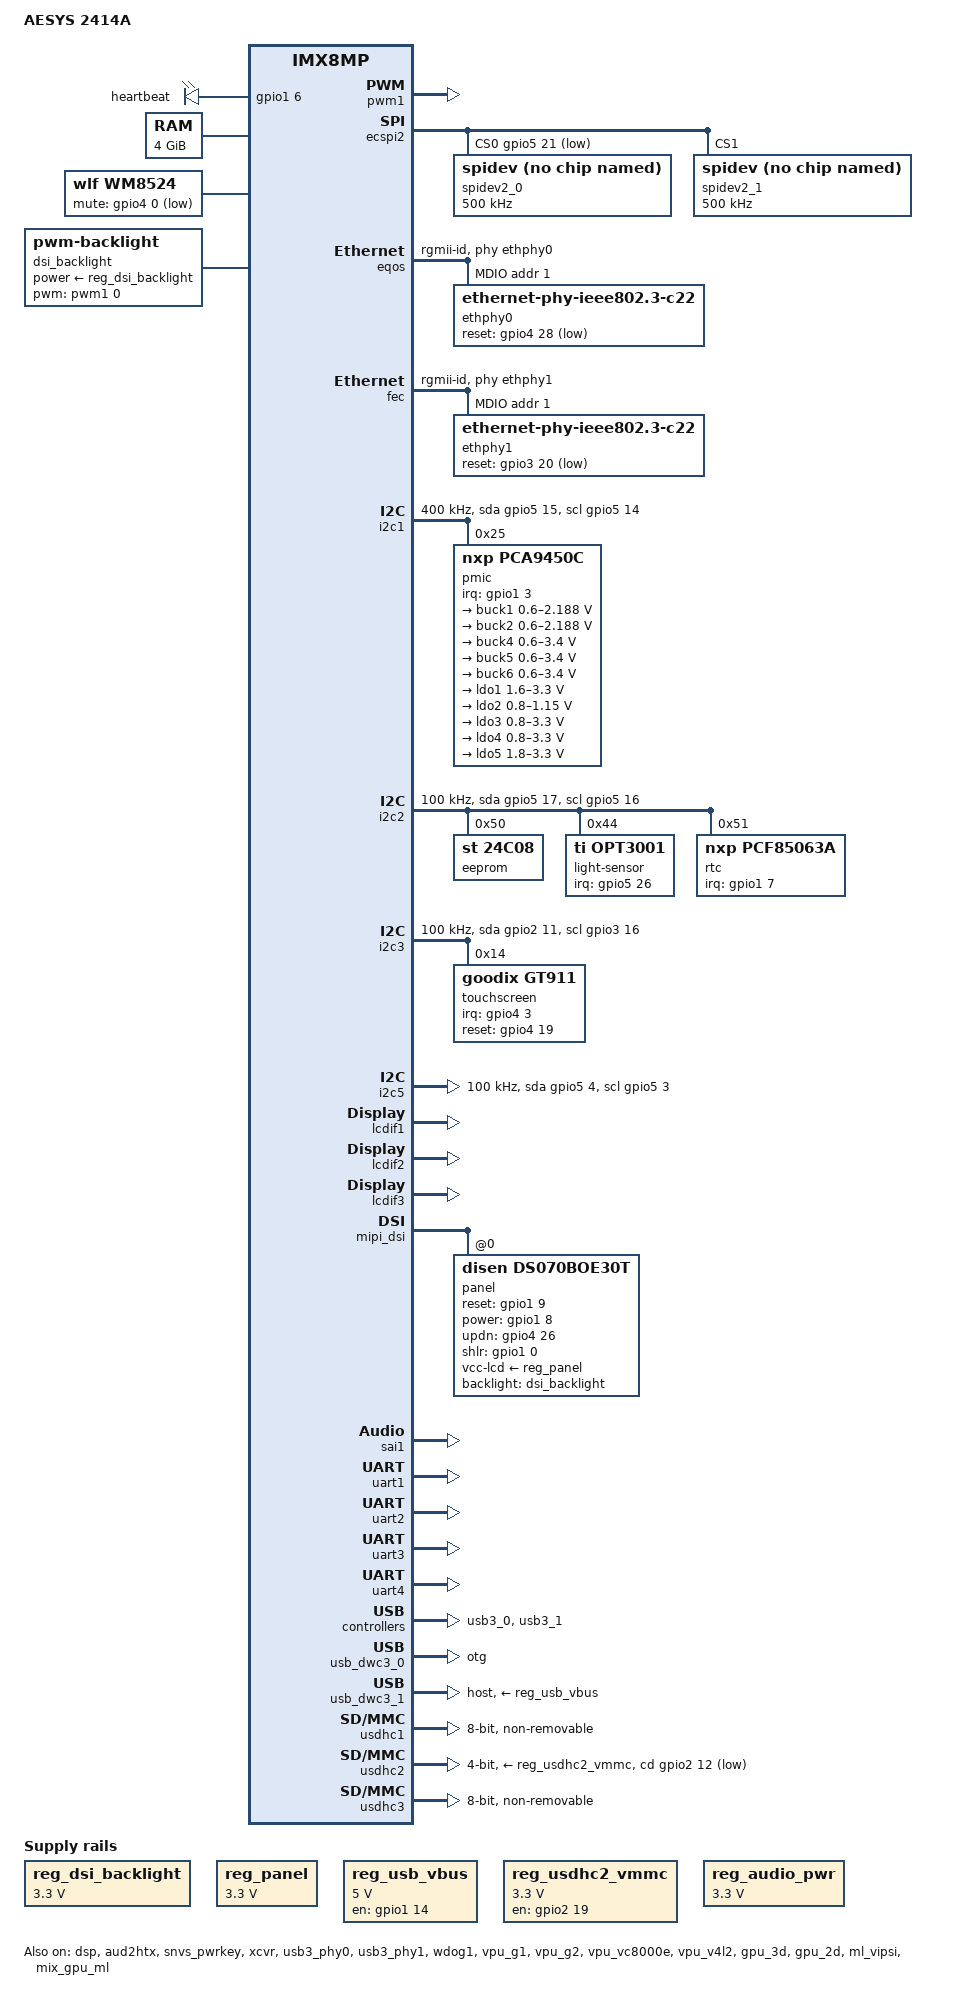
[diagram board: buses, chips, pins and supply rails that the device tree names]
// SPDX-License-Identifier: (GPL-2.0+ OR MIT)

/dts-v1/;

#include <dt-bindings/phy/phy-imx8-pcie.h>
#include <dt-bindings/usb/pd.h>
#include <dt-bindings/leds/common.h>
#include "imx8mp.dtsi"

/ {
	model = "AESYS 2414A";
	compatible = "fsl,imx8mp-evk", "fsl,imx8mp";

	aliases {
		rtc0 = &rtc_i2c;
		rtc1 = &snvs_rtc;
	};

	chosen {
		stdout-path = &uart2;
	};

	gpio-leds {
		compatible = "gpio-leds";
		pinctrl-names = "default";
		pinctrl-0 = <&pinctrl_gpio_led>;
		status = "okay";

		heartbeat {
			label = "heartbeat";
			linux,default-trigger = "heartbeat";
			gpios = <&gpio1 6 GPIO_ACTIVE_HIGH>;
		};
	};

	memory@40000000 {
		device_type = "memory";
		reg = <0x0 0x40000000 0 0xc0000000>,
			  <0x1 0x00000000 0 0x40000000>;
	};

	reg_dsi_backlight: regulator-panel {
		compatible = "regulator-fixed";
		regulator-name = "panel";
		regulator-min-microvolt = <3300000>;
		regulator-max-microvolt = <3300000>;
		enable-active-high;
	};

	reg_panel: regulator-panel {
		compatible = "regulator-fixed";
		regulator-name = "panel";
		regulator-min-microvolt = <3300000>;
		regulator-max-microvolt = <3300000>;
		enable-active-high;
	};

	reg_usb_vbus: regulator-vbus {
		compatible = "regulator-fixed";
		pinctrl-names = "default";
		pinctrl-0 = <&pinctrl_usb2_vbus>;
		regulator-name = "USB_VBUS";
		regulator-min-microvolt = <5000000>;
		regulator-max-microvolt = <5000000>;
		gpio = <&gpio1 14 GPIO_ACTIVE_HIGH>;
		enable-active-high;
		regulator-always-on;
	};

	reg_usdhc2_vmmc: regulator-usdhc2 {
		compatible = "regulator-fixed";
		pinctrl-names = "default";
		pinctrl-0 = <&pinctrl_reg_usdhc2_vmmc>;
		regulator-name = "VSD_3V3";
		regulator-min-microvolt = <3300000>;
		regulator-max-microvolt = <3300000>;
		gpio = <&gpio2 19 GPIO_ACTIVE_HIGH>;
		enable-active-high;
	};

	reg_audio_pwr: regulator-audio-pwr {
		compatible = "regulator-fixed";
		regulator-name = "audio-pwr";
		regulator-min-microvolt = <3300000>;
		regulator-max-microvolt = <3300000>;
		enable-active-high;
		regulator-always-on;
	};

	wm8524: audio-codec {
		#sound-dai-cells = <0>;
		compatible = "wlf,wm8524";
		pinctrl-names = "default";
		pinctrl-0 = <&pinctrl_sound_wm8524>;
		wlf,mute-gpios = <&gpio4 0 GPIO_ACTIVE_LOW>;
	};

	sound-wm8524 {
		compatible = "simple-audio-card";
		simple-audio-card,name = "wm8524-audio";
		simple-audio-card,format = "i2s";
		simple-audio-card,frame-master = <&cpudai>;
		simple-audio-card,bitclock-master = <&cpudai>;
		simple-audio-card,widgets =
			"Line", "Left Line Out Jack",
			"Line", "Right Line Out Jack";
		simple-audio-card,routing =
			"Left Line Out Jack", "LINEVOUTL",
			"Right Line Out Jack", "LINEVOUTR";

		cpudai: simple-audio-card,cpu {
			sound-dai = <&sai1>;
		};

		link_codec: simple-audio-card,codec {
			sound-dai = <&wm8524>;
			clocks = <&clk IMX8MP_CLK_SAI1>;
		};
	};

	sound-xcvr {
		compatible = "fsl,imx-audio-card";
		model = "imx-audio-xcvr";
		pri-dai-link {
			link-name = "XCVR PCM";
			cpu {
				sound-dai = <&xcvr>;
			};
		};
	};

	dsi_backlight: dsi_backlight@1 {
		compatible = "pwm-backlight";
		pwms = <&pwm1 0 100000 0>;
		power-supply = <&reg_dsi_backlight>;
		status = "okay";

		brightness-levels = < 0  1  2  3  4  5  6  7  8  9
				     10 11 12 13 14 15 16 17 18 19
				     20 21 22 23 24 25 26 27 28 29
				     30 31 32 33 34 35 36 37 38 39
				     40 41 42 43 44 45 46 47 48 49
				     50 51 52 53 54 55 56 57 58 59
				     60 61 62 63 64 65 66 67 68 69
				     70 71 72 73 74 75 76 77 78 79
				     80 81 82 83 84 85 86 87 88 89
				     90 91 92 93 94 95 96 97 98 99
				    100>;
		default-brightness-level = <80>;
	};
};

&A53_0 {
	cpu-supply = <&buck2>;
};

&A53_1 {
	cpu-supply = <&buck2>;
};

&A53_2 {
	cpu-supply = <&buck2>;
};

&A53_3 {
	cpu-supply = <&buck2>;
};

&dsp {
	status = "okay";
};

&pwm1 {
	pinctrl-names = "default";
	pinctrl-0 = <&pinctrl_pwm1>;
	status = "okay";
};

&aud2htx {
	status = "okay";
};

&ecspi2 {
	#address-cells = <1>;
	#size-cells = <0>;
	fsl,spi-num-chipselects = <1>;
	pinctrl-names = "default";
	pinctrl-0 = <&pinctrl_ecspi2 &pinctrl_ecspi2_cs>;
	cs-gpios = <&gpio5 21 GPIO_ACTIVE_LOW>;
	status = "okay";

	spidev2_0: spi@0 {
		compatible = "linux,spidev";
		reg = <0>;
		spi-max-frequency = <500000>;
	};

	spidev2_1: spi@1 {
		compatible = "linux,spidev";
		reg = <1>;
		spi-max-frequency = <500000>;
	};
};

&eqos {
	pinctrl-names = "default";
	pinctrl-0 = <&pinctrl_eqos>;
	phy-mode = "rgmii-id";
	phy-handle = <&ethphy0>;
	snps,force_thresh_dma_mode;
	status = "okay";

	mdio {
		compatible = "snps,dwmac-mdio";
		#address-cells = <1>;
		#size-cells = <0>;

		ethphy0: ethernet-phy@1 {
			compatible = "ethernet-phy-ieee802.3-c22";
			reg = <1>;
			eee-broken-1000t;
			reset-gpios = <&gpio4 28 GPIO_ACTIVE_LOW>;
			reset-assert-us = <10000>;
			reset-deassert-us = <80000>;
			realtek,clkout-disable;

			leds {
				led@0 {
					reg = <0>;
					function = LED_FUNCTION_MULTICOLOR;
					multicolor-function = LED_MC_FUNCTION_ENCODED_SPEED;
				};
	
				led@1 {
					reg = <1>;
					function = LED_FUNCTION_ACTIVITY;
				};
			};
		};
	};
};

&fec {
	pinctrl-names = "default";
	pinctrl-0 = <&pinctrl_fec>;
	phy-mode = "rgmii-id";
	phy-handle = <&ethphy1>;
	fsl,magic-packet;
	status = "okay";

	mdio {
		#address-cells = <1>;
		#size-cells = <0>;

		ethphy1: ethernet-phy@1 {
			compatible = "ethernet-phy-ieee802.3-c22";
			reg = <1>;
			eee-broken-1000t;
			reset-gpios = <&gpio3 20 GPIO_ACTIVE_LOW>;
			reset-assert-us = <10000>;
			reset-deassert-us = <80000>;
			realtek,aldps-enable;
			realtek,clkout-disable;
		};
	};
};

&i2c1 {
	clock-frequency = <400000>;
	pinctrl-names = "default", "gpio";
	pinctrl-0 = <&pinctrl_i2c1>;
	pinctrl-1 = <&pinctrl_i2c1_gpio>;
	scl-gpios = <&gpio5 14 (GPIO_ACTIVE_HIGH | GPIO_OPEN_DRAIN)>;
	sda-gpios = <&gpio5 15 GPIO_ACTIVE_HIGH>;
	status = "okay";

	pmic@25 {
		compatible = "nxp,pca9450c";
		reg = <0x25>;
		pinctrl-names = "default";
		pinctrl-0 = <&pinctrl_pmic>;
		interrupt-parent = <&gpio1>;
		interrupts = <3 IRQ_TYPE_LEVEL_LOW>;
		nxp,i2c-lt-enable;

		regulators {
			buck1: BUCK1 {
				regulator-name = "BUCK1";
				regulator-min-microvolt = <600000>;
				regulator-max-microvolt = <2187500>;
				regulator-boot-on;
				regulator-always-on;
				regulator-ramp-delay = <3125>;
			};

			buck2: BUCK2 {
				regulator-name = "BUCK2";
				regulator-min-microvolt = <600000>;
				regulator-max-microvolt = <2187500>;
				regulator-boot-on;
				regulator-always-on;
				regulator-ramp-delay = <3125>;
				nxp,dvs-run-voltage = <950000>;
				nxp,dvs-standby-voltage = <850000>;
			};

			buck4: BUCK4{
				regulator-name = "BUCK4";
				regulator-min-microvolt = <600000>;
				regulator-max-microvolt = <3400000>;
				regulator-boot-on;
				regulator-always-on;
			};

			buck5: BUCK5{
				regulator-name = "BUCK5";
				regulator-min-microvolt = <600000>;
				regulator-max-microvolt = <3400000>;
				regulator-boot-on;
				regulator-always-on;
			};

			buck6: BUCK6 {
				regulator-name = "BUCK6";
				regulator-min-microvolt = <600000>;
				regulator-max-microvolt = <3400000>;
				regulator-boot-on;
				regulator-always-on;
			};

			ldo1: LDO1 {
				regulator-name = "LDO1";
				regulator-min-microvolt = <1600000>;
				regulator-max-microvolt = <3300000>;
				regulator-boot-on;
				regulator-always-on;
			};

			ldo2: LDO2 {
				regulator-name = "LDO2";
				regulator-min-microvolt = <800000>;
				regulator-max-microvolt = <1150000>;
				regulator-boot-on;
				regulator-always-on;
			};

			ldo3: LDO3 {
				regulator-name = "LDO3";
				regulator-min-microvolt = <800000>;
				regulator-max-microvolt = <3300000>;
				regulator-boot-on;
				regulator-always-on;
			};

			ldo4: LDO4 {
				regulator-name = "LDO4";
				regulator-min-microvolt = <800000>;
				regulator-max-microvolt = <3300000>;
				regulator-boot-on;
				regulator-always-on;
			};

			ldo5: LDO5 {
				regulator-name = "LDO5";
				regulator-min-microvolt = <1800000>;
				regulator-max-microvolt = <3300000>;
				regulator-boot-on;
				regulator-always-on;
			};
		};
	};
};

&i2c2 {
	clock-frequency = <100000>;
 	pinctrl-names = "default", "gpio";
 	pinctrl-0 = <&pinctrl_i2c2>;
 	pinctrl-1 = <&pinctrl_i2c2_gpio>;
 	scl-gpios = <&gpio5 16 (GPIO_ACTIVE_HIGH | GPIO_OPEN_DRAIN)>;
 	sda-gpios = <&gpio5 17 GPIO_ACTIVE_HIGH>;
	status = "okay";

	eeprom@50 {
		compatible = "st,24c08";
		reg = <0x50>;
		pagesize = <16>;
		num-addresses = <1>;
	};

	light-sensor@44 {
		compatible = "ti,opt3001";
		pinctrl-names = "default";
		pinctrl-0 = <&pinctrl_light_sensor>;
		reg = <0x44>;
		interrupt-parent = <&gpio5>;
		interrupts = <26 IRQ_TYPE_EDGE_FALLING>;
	};

	rtc@51 {
		compatible = "nxp,pcf85063a";
		pinctrl-names = "default";
		pinctrl-0 = <&pinctrl_rtc>;
		reg = <0x51>;
		interrupt-parent = <&gpio1>;
		interrupts = <7 IRQ_TYPE_EDGE_FALLING>;
	};
};

&i2c3 {
	clock-frequency = <100000>;
	pinctrl-names = "default", "gpio";
 	pinctrl-0 = <&pinctrl_i2c3>;
 	pinctrl-1 = <&pinctrl_i2c3_gpio>;
 	scl-gpios = <&gpio3 16 (GPIO_ACTIVE_HIGH | GPIO_OPEN_DRAIN)>;
 	sda-gpios = <&gpio2 11 GPIO_ACTIVE_HIGH>;
	status = "okay";

	touchscreen: touchscreen@14 {
		compatible = "goodix,gt911";
		pinctrl-names = "default";
		pinctrl-0 = <&pinctrl_touchscreen>;
		reg = <0x14>;
		irq-gpios = <&gpio4 3 GPIO_ACTIVE_HIGH>;
		interrupt-parent = <&gpio4>;
		interrupts = <3 GPIO_ACTIVE_HIGH>;
		reset-gpios = <&gpio4 19 GPIO_ACTIVE_HIGH>;
		dont-release-reset;
		dont-drive-irq-for-address-configuration;
	};
};

&i2c5 {
	clock-frequency = <100000>;
	pinctrl-names = "default", "gpio";
 	pinctrl-0 = <&pinctrl_i2c5>;
 	pinctrl-1 = <&pinctrl_i2c5_gpio>;
 	scl-gpios = <&gpio5 3 (GPIO_ACTIVE_HIGH | GPIO_OPEN_DRAIN)>;
 	sda-gpios = <&gpio5 4 GPIO_ACTIVE_HIGH>;
	status = "okay";
};

&lcdif1 {
	status = "okay";
};

&lcdif2 {
	status = "okay";
};

&lcdif3 {
	status = "okay";

	thres-low  = <1 2>;
	thres-high = <3 4>;
};

&mipi_dsi {
	status = "okay";

	panel@0 {
		compatible = "disen,ds070boe30t";
		pinctrl-0 = <&pinctrl_mipi_dsi>;
		pinctrl-names = "default";
		reg = <0>;
		reset-gpios = <&gpio1 9 GPIO_ACTIVE_HIGH>;
		power-gpios = <&gpio1 8 GPIO_ACTIVE_HIGH>;
		updn-gpios = <&gpio4 26 GPIO_ACTIVE_HIGH>;
		shlr-gpios = <&gpio1 0 GPIO_ACTIVE_HIGH>;		
		vcc-lcd-supply = <&reg_panel>;
		backlight = <&dsi_backlight>;
		status = "okay";
	};
};

&sai1 {
	#sound-dai-cells = <0>;
	pinctrl-names = "default";
	pinctrl-0 = <&pinctrl_sai1>;
	assigned-clocks = <&clk IMX8MP_CLK_SAI1>;
	assigned-clock-parents = <&clk IMX8MP_AUDIO_PLL1_OUT>;
	assigned-clock-rates = <12288000>;
	fsl,sai-mclk-direction-output;
	status = "okay";
};

&snvs_pwrkey {
	status = "okay";
};

&xcvr {
	#sound-dai-cells = <0>;
	status = "okay";
};

&sdma2 {
	status = "okay";
};

&uart1 {
	pinctrl-names = "default";
	pinctrl-0 = <&pinctrl_uart1>;
	assigned-clocks = <&clk IMX8MP_CLK_UART1>;
	assigned-clock-parents = <&clk IMX8MP_SYS_PLL1_80M>;
	fsl,uart-has-rtscts;
	status = "okay";
};

&uart2 {
	pinctrl-names = "default";
	pinctrl-0 = <&pinctrl_uart2>;
	status = "okay";
};

&uart3 {
	pinctrl-names = "default";
	pinctrl-0 = <&pinctrl_uart3>;
	assigned-clocks = <&clk IMX8MP_CLK_UART3>;
	assigned-clock-parents = <&clk IMX8MP_SYS_PLL1_80M>;
	fsl,uart-has-rtscts;
	status = "okay";
};

&uart4 {
	pinctrl-names = "default";
	pinctrl-0 = <&pinctrl_uart4>;
	assigned-clocks = <&clk IMX8MP_CLK_UART4>;
	assigned-clock-parents = <&clk IMX8MP_SYS_PLL1_80M>;
	fsl,uart-has-rtscts;
	status = "okay";
};

&usb3_phy0 {
	status = "okay";
};

&usb3_0 {
	status = "okay";
};

&usb_dwc3_0 {
	dr_mode = "otg";
	pinctrl-names = "default";
	pinctrl-0 = <&pinctrl_usb_dwc3_0>;
	hnp-disable;
	srp-disable;
	adp-disable;
	usb-role-switch;
	role-switch-default-mode = "none";
	snps,dis-u1-entry-quirk;
	snps,dis-u2-entry-quirk;
	status = "okay";
};

&usb3_phy1 {
	status = "okay";
};

&usb3_1 {
	status = "okay";
};

&usb_dwc3_1 {
	pinctrl-names = "default";
	pinctrl-0 = <&pinctrl_usb_dwc3_1>;
	vbus-supply = <&reg_usb_vbus>;
	dr_mode = "host";
	status = "okay";
};



&usdhc1 {
	assigned-clocks = <&clk IMX8MP_CLK_USDHC1>;
	assigned-clock-rates = <400000000>;
	pinctrl-names = "default", "state_100mhz", "state_200mhz";
	pinctrl-0 = <&pinctrl_usdhc1>;
	pinctrl-1 = <&pinctrl_usdhc1_100mhz>;
	pinctrl-2 = <&pinctrl_usdhc1_200mhz>;
	bus-width = <8>;
	non-removable;
	status = "okay";
};

&usdhc2 {
	assigned-clocks = <&clk IMX8MP_CLK_USDHC2>;
	assigned-clock-rates = <400000000>;
	pinctrl-names = "default", "state_100mhz", "state_200mhz";
	pinctrl-0 = <&pinctrl_usdhc2>, <&pinctrl_usdhc2_gpio>;
	pinctrl-1 = <&pinctrl_usdhc2_100mhz>, <&pinctrl_usdhc2_gpio>;
	pinctrl-2 = <&pinctrl_usdhc2_200mhz>, <&pinctrl_usdhc2_gpio>;
	cd-gpios = <&gpio2 12 GPIO_ACTIVE_LOW>;
	vmmc-supply = <&reg_usdhc2_vmmc>;
	bus-width = <4>;
	status = "okay";
};

&usdhc3 {
	assigned-clocks = <&clk IMX8MP_CLK_USDHC3>;
	assigned-clock-rates = <400000000>;
	pinctrl-names = "default", "state_100mhz", "state_200mhz";
	pinctrl-0 = <&pinctrl_usdhc3>;
	pinctrl-1 = <&pinctrl_usdhc3_100mhz>;
	pinctrl-2 = <&pinctrl_usdhc3_200mhz>;
	bus-width = <8>;
	non-removable;
	status = "okay";
};

&wdog1 {
	pinctrl-names = "default";
	pinctrl-0 = <&pinctrl_wdog>;
	fsl,ext-reset-output;
	status = "okay";
};

&iomuxc {
	pinctrl-names = "default";
	pinctrl-0 = <&pinctrl_emmc_gpios &pinctrl_pin_gpios>;

	pinctrl_usb_dwc3_0: usb_dwc3_0_pins {	
		fsl,pins = <
			MX8MP_IOMUXC_GPIO1_IO13___USB1_OC			0x00000084
			MX8MP_IOMUXC_GPIO1_IO12___USB1_PWR		0x00000084
		>;
	};

	pinctrl_usb_dwc3_1: usb_dwc3_1_pins {	
		fsl,pins = <
			MX8MP_IOMUXC_GPIO1_IO15__USB_OC			0x00000084
			MX8MP_IOMUXC_GPIO1_IO14__USB2_PWR		0x00000084
		>;
	};

	pinctrl_sound_wm8524: sound_wm8524_gpios {
		fsl,pins = <
			MX8MP_IOMUXC_SAI1_RXFS__GPIO4_IO00		0x00000006	// AUDIO_nMUTE
		>;
	};

	pinctrl_light_sensor: light_sensor_gpios {
		fsl,pins = <
			MX8MP_IOMUXC_UART3_RXD__GPIO5_IO26		0x00000006	// ALS_nINT
		>;
	};

	pinctrl_rtc: rtc_gpios {
		fsl,pins = <
			MX8MP_IOMUXC_GPIO1_IO07__GPIO1_IO07		0x00000006	// RTC_nINT
		>;
	};

	pinctrl_mipi_dsi: mipi_dsi_gpios {
		fsl,pins = <
			MX8MP_IOMUXC_GPIO1_IO08__GPIO1_IO08		0x00000106	// DSI_EN
			MX8MP_IOMUXC_GPIO1_IO00__GPIO1_IO00		0x00000106	// DSI L/R
			MX8MP_IOMUXC_SAI2_TXD0__GPIO4_IO26		0x00000106	// DSI UP/DOWN
			MX8MP_IOMUXC_GPIO1_IO09__GPIO1_IO09		0x00000106	// DSI nRESET
		>;
	};

	pinctrl_touchscreen: touchscreen_gpios {
		fsl,pins = <
			MX8MP_IOMUXC_SAI1_RXD1__GPIO4_IO03		0x00000140	// TS_INT
			MX8MP_IOMUXC_SAI1_TXD7__GPIO4_IO19		0x00000106	// TS_RESET
		>;
	};

	pinctrl_emmc_gpios: emmc_gpios {
		fsl,pins = <
			MX8MP_IOMUXC_SAI5_RXD2__GPIO3_IO23		0x00000140	// eMMC_nRESET
		>;
	};

	pinctrl_pin_gpios: pin_gpios {
		fsl,pins = <
			MX8MP_IOMUXC_GPIO1_IO00__GPIO1_IO00		0x00000106
			MX8MP_IOMUXC_GPIO1_IO06__GPIO1_IO06		0x00000106
			MX8MP_IOMUXC_SAI1_RXD1__GPIO4_IO03		0x00000106
			MX8MP_IOMUXC_SAI1_RXD2__GPIO4_IO04		0x00000106
			MX8MP_IOMUXC_SAI1_RXD3__GPIO4_IO05		0x00000106
			MX8MP_IOMUXC_SAI1_TXD3__GPIO4_IO15		0x00000106
			MX8MP_IOMUXC_SAI1_TXD7__GPIO4_IO19		0x00000106

			MX8MP_IOMUXC_NAND_ALE__GPIO3_IO00		0x00000006	// EXT_BOARD_HW_REV1
			MX8MP_IOMUXC_NAND_CE0_B__GPIO3_IO01		0x00000006 	// EXT_BOARD_HW_REV2
			MX8MP_IOMUXC_NAND_DQS__GPIO3_IO14		0x00000006	// EXT_BOARD_HW_REV3
			MX8MP_IOMUXC_UART4_RXD__GPIO5_IO28		0x00000006	// EXT_BOARD_HW_REV4

			MX8MP_IOMUXC_SAI2_MCLK__GPIO4_IO27		0x00000006	// GP_IN0
			MX8MP_IOMUXC_SAI1_TXD6__GPIO4_IO18		0x00000006	// GP_IN1
			MX8MP_IOMUXC_SAI3_TXD__GPIO5_IO01		0x00000006	// GP_IN2
			MX8MP_IOMUXC_UART3_TXD__GPIO5_IO27		0x00000006	// GP_IN3
			MX8MP_IOMUXC_SAI3_RXD__GPIO4_IO30		0x00000006	// GP_IN4

			MX8MP_IOMUXC_HDMI_CEC__GPIO3_IO28		0x00000006	// GP_OUT0
			MX8MP_IOMUXC_UART4_TXD__GPIO5_IO29		0x00000006	// GP_OUT1

			MX8MP_IOMUXC_NAND_DATA00__GPIO3_IO06	0x00000006	// HW_REV1
			MX8MP_IOMUXC_NAND_DATA01__GPIO3_IO07	0x00000006 	// HW_REV2
			MX8MP_IOMUXC_NAND_DATA02__GPIO3_IO08	0x00000006	// HW_REV3
			MX8MP_IOMUXC_NAND_DATA03__GPIO3_IO09	0x00000006	// HW_REV4

			MX8MP_IOMUXC_SAI3_MCLK__GPIO5_IO02		0x00000006	// I2C5_nINT

			MX8MP_IOMUXC_SAI5_RXD0__GPIO3_IO21		0x00000006	// LCD_TYPE

			MX8MP_IOMUXC_GPIO1_IO05__GPIO1_IO05		0x00000006	// M7_NMI

			MX8MP_IOMUXC_HDMI_DDC_SCL__GPIO3_IO26	0x00000006	// RS485_0_MODE
			MX8MP_IOMUXC_HDMI_DDC_SDA__GPIO3_IO27	0x00000006	// RS485_1_MODE	

			MX8MP_IOMUXC_HDMI_HPD__GPIO3_IO29		0x00000006	// UART3_SEL

			MX8MP_IOMUXC_UART2_TXD__GPIO5_IO25       0x00000016	// WDOG_EN
			MX8MP_IOMUXC_UART1_RXD__GPIO5_IO22       0x00000016	// WDOG_WDI
			MX8MP_IOMUXC_UART2_RXD__GPIO5_IO24       0x00000016	// WDOG_SET0
			MX8MP_IOMUXC_UART1_TXD__GPIO5_IO23       0x00000016	// WDOG_SET1
		>;
	};

	pinctrl_pwm1: pwm1grp {
		fsl,pins = <
			MX8MP_IOMUXC_GPIO1_IO01__PWM1_OUT		0x00000116	// DSI_PWM
		>;
	};

	pinctrl_ecspi2: ecspi2grp {
		fsl,pins = <
			MX8MP_IOMUXC_I2C3_SCL__ECSPI2_SCLK	0x00000082
			MX8MP_IOMUXC_I2C3_SDA__ECSPI2_MOSI	0x00000082
			MX8MP_IOMUXC_I2C4_SCL__ECSPI2_MISO	0x00000182
		>;
	};

	pinctrl_ecspi2_cs: ecspi2cs {
		fsl,pins = <
			MX8MP_IOMUXC_I2C4_SDA__GPIO5_IO21	0x00000002
		>;
	};

	pinctrl_eqos: eqosgrp {
		fsl,pins = <
			MX8MP_IOMUXC_ENET_MDC__ENET_QOS_MDC				0x00000002
			MX8MP_IOMUXC_ENET_MDIO__ENET_QOS_MDIO				0x00000002
			MX8MP_IOMUXC_ENET_RD0__ENET_QOS_RGMII_RD0			0x00000090
			MX8MP_IOMUXC_ENET_RD1__ENET_QOS_RGMII_RD1			0x00000090
			MX8MP_IOMUXC_ENET_RD2__ENET_QOS_RGMII_RD2			0x00000090
			MX8MP_IOMUXC_ENET_RD3__ENET_QOS_RGMII_RD3			0x00000090
			MX8MP_IOMUXC_ENET_RXC__CCM_ENET_QOS_CLOCK_GENERATE_RX_CLK	0x00000090
			MX8MP_IOMUXC_ENET_RX_CTL__ENET_QOS_RGMII_RX_CTL			0x00000090
			MX8MP_IOMUXC_ENET_TD0__ENET_QOS_RGMII_TD0			0x00000016
			MX8MP_IOMUXC_ENET_TD1__ENET_QOS_RGMII_TD1			0x00000016
			MX8MP_IOMUXC_ENET_TD2__ENET_QOS_RGMII_TD2			0x00000016
			MX8MP_IOMUXC_ENET_TD3__ENET_QOS_RGMII_TD3			0x00000016
			MX8MP_IOMUXC_ENET_TX_CTL__ENET_QOS_RGMII_TX_CTL			0x00000016
			MX8MP_IOMUXC_ENET_TXC__CCM_ENET_QOS_CLOCK_GENERATE_TX_CLK	0x00000016
			MX8MP_IOMUXC_SAI3_RXFS__GPIO4_IO28				0x00000010
		>;
	};

	pinctrl_fec: fecgrp {
		fsl,pins = <
			MX8MP_IOMUXC_SAI1_RXD2__ENET1_MDC		0x2
			MX8MP_IOMUXC_SAI1_RXD3__ENET1_MDIO		0x2
			MX8MP_IOMUXC_SAI1_RXD4__ENET1_RGMII_RD0		0x90
			MX8MP_IOMUXC_SAI1_RXD5__ENET1_RGMII_RD1		0x90
			MX8MP_IOMUXC_SAI1_RXD6__ENET1_RGMII_RD2		0x90
			MX8MP_IOMUXC_SAI1_RXD7__ENET1_RGMII_RD3		0x90
			MX8MP_IOMUXC_SAI1_TXC__ENET1_RGMII_RXC		0x90
			MX8MP_IOMUXC_SAI1_TXFS__ENET1_RGMII_RX_CTL	0x90
			MX8MP_IOMUXC_SAI1_TXD0__ENET1_RGMII_TD0		0x16
			MX8MP_IOMUXC_SAI1_TXD1__ENET1_RGMII_TD1		0x16
			MX8MP_IOMUXC_SAI1_TXD2__ENET1_RGMII_TD2		0x16
			MX8MP_IOMUXC_SAI1_TXD3__ENET1_RGMII_TD3		0x16
			MX8MP_IOMUXC_SAI1_TXD4__ENET1_RGMII_TX_CTL	0x16
			MX8MP_IOMUXC_SAI1_TXD5__ENET1_RGMII_TXC		0x16
			MX8MP_IOMUXC_SAI5_RXC__GPIO3_IO20		0x10
		>;
	};

	pinctrl_gpio_led: gpioledgrp {
		fsl,pins = <
			MX8MP_IOMUXC_GPIO1_IO01__GPIO1_IO06		0x00000006
		>;
	};

	pinctrl_i2c1: i2c1grp {
		fsl,pins = <
			MX8MP_IOMUXC_I2C1_SCL__I2C1_SCL		0x400001C2
			MX8MP_IOMUXC_I2C1_SDA__I2C1_SDA		0x400001C2
		>;
	};

	pinctrl_i2c1_gpio: i2c1gpiogrp {
		fsl,pins = <
			MX8MP_IOMUXC_I2C1_SCL__GPIO5_IO14        	0x1e3
			MX8MP_IOMUXC_I2C1_SDA__GPIO5_IO15        	0x1c3
		>;
	};

	pinctrl_i2c2: i2c2grp {
		fsl,pins = <
			MX8MP_IOMUXC_I2C2_SCL__I2C2_SCL		0x400001C2
			MX8MP_IOMUXC_I2C2_SDA__I2C2_SDA		0x400001C2
		>;
	};

	pinctrl_i2c2_gpio: i2c2gpiogrp {
		fsl,pins = <
			MX8MP_IOMUXC_I2C2_SCL__GPIO5_IO16        	0x1e3
			MX8MP_IOMUXC_I2C2_SDA__GPIO5_IO17        	0x1c3
		>;
	};

	pinctrl_i2c3: i2c3grp {
		fsl,pins = <
			MX8MP_IOMUXC_NAND_READY_B__I2C3_SCL		0x400001C2
			MX8MP_IOMUXC_SD1_STROBE__I2C3_SDA		0x400001C2
		>;
	};

	pinctrl_i2c3_gpio: i2c3gpiogrp {
		fsl,pins = <
			MX8MP_IOMUXC_NAND_READY_B__GPIO3_IO16			0x1e3
			MX8MP_IOMUXC_SD1_STROBE__GPIO2_IO11				0x1c3
		>;
	};

	pinctrl_i2c5: i2c5grp {
		fsl,pins = <
			MX8MP_IOMUXC_SPDIF_TX__I2C5_SCL			 0x400001C2
			MX8MP_IOMUXC_SPDIF_RX__I2C5_SDA          0x400001C2
		>;
	};

	pinctrl_i2c5_gpio: i2c5gpiogrp {
		fsl,pins = <
			MX8MP_IOMUXC_SPDIF_TX__GPIO5_IO03				0x1e3
			MX8MP_IOMUXC_SPDIF_RX__GPIO5_IO04				0x1c3
		>;
	};

	pinctrl_pmic: pmicgrp {
		fsl,pins = <
			MX8MP_IOMUXC_GPIO1_IO03__GPIO1_IO03	0x000001C0
		>;
	};

	pinctrl_reg_usdhc2_vmmc: regusdhc2vmmcgrp {
		fsl,pins = <
			MX8MP_IOMUXC_SD2_RESET_B__GPIO2_IO19	0x00000002
		>;
	};

	pinctrl_sai1: sai1grp {
		fsl,pins = <
 			MX8MP_IOMUXC_SAI1_MCLK__AUDIOMIX_SAI1_MCLK 		0x00000116
			MX8MP_IOMUXC_SAI5_MCLK__AUDIOMIX_SAI1_TX_BCLK 	0x00000116
			MX8MP_IOMUXC_SAI5_RXFS__AUDIOMIX_SAI1_TX_DATA00	0x00000116
			MX8MP_IOMUXC_SAI5_RXD3__AUDIOMIX_SAI1_TX_SYNC 	0x00000116
		>;
	};

	pinctrl_uart1: uart1grp {
		fsl,pins = <
			MX8MP_IOMUXC_SAI2_RXC__UART1_DCE_RX		0x00000140
			MX8MP_IOMUXC_SAI2_RXD0__UART1_DCE_RTS	0x00000140
			MX8MP_IOMUXC_SAI2_RXFS__UART1_DCE_TX	0x00000140
			MX8MP_IOMUXC_SAI2_TXFS__UART1_DCE_CTS	0x00000140
		>;
	};

	pinctrl_uart2: uart2grp {
		fsl,pins = <
			MX8MP_IOMUXC_SAI3_TXC__UART2_DCE_TX		0x00000140
			MX8MP_IOMUXC_SAI3_TXFS__UART2_DCE_RX	0x00000140
		>;
	};

	pinctrl_uart3: uart3grp {
		fsl,pins = <
			MX8MP_IOMUXC_ECSPI1_SCLK__UART3_DCE_RX		0x00000140
			MX8MP_IOMUXC_ECSPI1_MOSI__UART3_DCE_TX		0x00000140
			MX8MP_IOMUXC_ECSPI1_SS0__UART3_DCE_RTS		0x00000140
			MX8MP_IOMUXC_ECSPI1_MISO__UART3_DCE_CTS		0x00000140
		>;
	};

	pinctrl_uart4: uart4grp {
		fsl,pins = <
			MX8MP_IOMUXC_ECSPI2_MOSI__UART4_DCE_TX		0x00000140
			MX8MP_IOMUXC_ECSPI2_SCLK__UART4_DCE_RX		0x00000140
			MX8MP_IOMUXC_ECSPI2_SS0__UART4_DCE_RTS		0x00000140
			MX8MP_IOMUXC_ECSPI2_MISO__UART4_DCE_CTS		0x00000140
		>;
	};

	pinctrl_usb2_vbus: usb2grp {
		fsl,pins = <
			MX8MP_IOMUXC_GPIO1_IO14__GPIO1_IO14		0x00000010
		>;
	};

	pinctrl_usdhc1: usdhc1grp {
		fsl,pins = <
			MX8MP_IOMUXC_SD1_CLK__USDHC1_CLK			0x00000190
			MX8MP_IOMUXC_SD1_CMD__USDHC1_CMD			0x000001D0
			MX8MP_IOMUXC_SD1_DATA0__USDHC1_DATA0		0x000001D0
			MX8MP_IOMUXC_SD1_DATA1__USDHC1_DATA1		0x000001D0
			MX8MP_IOMUXC_SD1_DATA2__USDHC1_DATA2		0x000001D0
			MX8MP_IOMUXC_SD1_DATA3__USDHC1_DATA3		0x000001D0
			MX8MP_IOMUXC_SD1_DATA4__USDHC1_DATA4		0x000001D0
			MX8MP_IOMUXC_SD1_DATA5__USDHC1_DATA5		0x000001D0
			MX8MP_IOMUXC_SD1_DATA6__USDHC1_DATA6		0x000001D0
			MX8MP_IOMUXC_SD1_DATA7__USDHC1_DATA7		0x000001D0
			MX8MP_IOMUXC_SD1_RESET_B__USDHC1_RESET_B	0x000001D0
		>;
	};

	pinctrl_usdhc1_100mhz: usdhc1-100mhzgrp {
		fsl,pins = <
			MX8MP_IOMUXC_SD1_CLK__USDHC1_CLK			0x00000194
			MX8MP_IOMUXC_SD1_CMD__USDHC1_CMD			0x000001D4
			MX8MP_IOMUXC_SD1_DATA0__USDHC1_DATA0		0x000001D4
			MX8MP_IOMUXC_SD1_DATA1__USDHC1_DATA1		0x000001D4
			MX8MP_IOMUXC_SD1_DATA2__USDHC1_DATA2		0x000001D4
			MX8MP_IOMUXC_SD1_DATA3__USDHC1_DATA3		0x000001D4
			MX8MP_IOMUXC_SD1_DATA4__USDHC1_DATA4		0x000001D4
			MX8MP_IOMUXC_SD1_DATA5__USDHC1_DATA5		0x000001D4
			MX8MP_IOMUXC_SD1_DATA6__USDHC1_DATA6		0x000001D4
			MX8MP_IOMUXC_SD1_DATA7__USDHC1_DATA7		0x000001D4
			MX8MP_IOMUXC_SD1_RESET_B__USDHC1_RESET_B	0x000001D4
		>;
	};

	pinctrl_usdhc1_200mhz: usdhc1-200mhzgrp {
		fsl,pins = <
			MX8MP_IOMUXC_SD1_CLK__USDHC1_CLK			0x00000196
			MX8MP_IOMUXC_SD1_CMD__USDHC1_CMD			0x000001D6
			MX8MP_IOMUXC_SD1_DATA0__USDHC1_DATA0		0x000001D6
			MX8MP_IOMUXC_SD1_DATA1__USDHC1_DATA1		0x000001D6
			MX8MP_IOMUXC_SD1_DATA2__USDHC1_DATA2		0x000001D6
			MX8MP_IOMUXC_SD1_DATA3__USDHC1_DATA3		0x000001D6
			MX8MP_IOMUXC_SD1_DATA4__USDHC1_DATA4		0x000001D6
			MX8MP_IOMUXC_SD1_DATA5__USDHC1_DATA5		0x000001D6
			MX8MP_IOMUXC_SD1_DATA6__USDHC1_DATA6		0x000001D6
			MX8MP_IOMUXC_SD1_DATA7__USDHC1_DATA7		0x000001D6
			MX8MP_IOMUXC_SD1_RESET_B__USDHC1_RESET_B	0x000001D6
		>;
	};

	pinctrl_usdhc2: usdhc2grp {
		fsl,pins = <
			MX8MP_IOMUXC_SD2_CLK__USDHC2_CLK		0x00000190
			MX8MP_IOMUXC_SD2_CMD__USDHC2_CMD		0x000001D0
			MX8MP_IOMUXC_SD2_DATA0__USDHC2_DATA0	0x000001D0
			MX8MP_IOMUXC_SD2_DATA1__USDHC2_DATA1	0x000001D0
			MX8MP_IOMUXC_SD2_DATA2__USDHC2_DATA2	0x000001D0
			MX8MP_IOMUXC_SD2_DATA3__USDHC2_DATA3	0x000001D0
			MX8MP_IOMUXC_GPIO1_IO04__USDHC2_VSELECT	0x000000C0
		>;
	};

	pinctrl_usdhc2_100mhz: usdhc2-100mhzgrp {
		fsl,pins = <
			MX8MP_IOMUXC_SD2_CLK__USDHC2_CLK		0x00000194
			MX8MP_IOMUXC_SD2_CMD__USDHC2_CMD		0x000001D4
			MX8MP_IOMUXC_SD2_DATA0__USDHC2_DATA0	0x000001D4
			MX8MP_IOMUXC_SD2_DATA1__USDHC2_DATA1	0x000001D4
			MX8MP_IOMUXC_SD2_DATA2__USDHC2_DATA2	0x000001D4
			MX8MP_IOMUXC_SD2_DATA3__USDHC2_DATA3	0x000001D4
			MX8MP_IOMUXC_GPIO1_IO04__USDHC2_VSELECT	0x000000C0
		>;
	};

	pinctrl_usdhc2_200mhz: usdhc2-200mhzgrp {
		fsl,pins = <
			MX8MP_IOMUXC_SD2_CLK__USDHC2_CLK		0x00000196
			MX8MP_IOMUXC_SD2_CMD__USDHC2_CMD		0x000001D6
			MX8MP_IOMUXC_SD2_DATA0__USDHC2_DATA0	0x000001D6
			MX8MP_IOMUXC_SD2_DATA1__USDHC2_DATA1	0x000001D6
			MX8MP_IOMUXC_SD2_DATA2__USDHC2_DATA2	0x000001D6
			MX8MP_IOMUXC_SD2_DATA3__USDHC2_DATA3	0x000001D6
			MX8MP_IOMUXC_GPIO1_IO04__USDHC2_VSELECT	0x000000C0
		>;
	};

	pinctrl_usdhc2_gpio: usdhc2gpiogrp {
		fsl,pins = <
			MX8MP_IOMUXC_SD2_CD_B__GPIO2_IO12		0x00000140
		>;
	};

	pinctrl_usdhc3: usdhc3grp {
		fsl,pins = <
			MX8MP_IOMUXC_NAND_WE_B__USDHC3_CLK		0x00000190
			MX8MP_IOMUXC_NAND_WP_B__USDHC3_CMD		0x000001D0
			MX8MP_IOMUXC_NAND_DATA04__USDHC3_DATA0	0x000001D0
			MX8MP_IOMUXC_NAND_DATA05__USDHC3_DATA1	0x000001D0
			MX8MP_IOMUXC_NAND_DATA06__USDHC3_DATA2	0x000001D0
			MX8MP_IOMUXC_NAND_DATA07__USDHC3_DATA3	0x000001D0
			MX8MP_IOMUXC_NAND_RE_B__USDHC3_DATA4	0x000001D0
			MX8MP_IOMUXC_NAND_CE2_B__USDHC3_DATA5	0x000001D0
			MX8MP_IOMUXC_NAND_CE3_B__USDHC3_DATA6	0x000001D0
			MX8MP_IOMUXC_NAND_CLE__USDHC3_DATA7		0x000001D0
			MX8MP_IOMUXC_NAND_CE1_B__USDHC3_STROBE	0x00000190pinctrl_usdhc2_gpio
		>;
	};

	pinctrl_usdhc3_100mhz: usdhc3-100mhzgrp {
		fsl,pins = <
			MX8MP_IOMUXC_NAND_WE_B__USDHC3_CLK		0x00000194
			MX8MP_IOMUXC_NAND_WP_B__USDHC3_CMD		0x000001D4
			MX8MP_IOMUXC_NAND_DATA04__USDHC3_DATA0	0x000001D4
			MX8MP_IOMUXC_NAND_DATA05__USDHC3_DATA1	0x000001D4
			MX8MP_IOMUXC_NAND_DATA06__USDHC3_DATA2	0x000001D4
			MX8MP_IOMUXC_NAND_DATA07__USDHC3_DATA3	0x000001D4
			MX8MP_IOMUXC_NAND_RE_B__USDHC3_DATA4	0x000001D4
			MX8MP_IOMUXC_NAND_CE2_B__USDHC3_DATA5	0x000001D4
			MX8MP_IOMUXC_NAND_CE3_B__USDHC3_DATA6	0x000001D4
			MX8MP_IOMUXC_NAND_CLE__USDHC3_DATA7		0x000001D4
			MX8MP_IOMUXC_NAND_CE1_B__USDHC3_STROBE	0x00000194
		>;
	};

	pinctrl_usdhc3_200mhz: usdhc3-200mhzgrp {
		fsl,pins = <
			MX8MP_IOMUXC_NAND_WE_B__USDHC3_CLK		0x00000196
			MX8MP_IOMUXC_NAND_WP_B__USDHC3_CMD		0x000001D6
			MX8MP_IOMUXC_NAND_DATA04__USDHC3_DATA0	0x000001D6
			MX8MP_IOMUXC_NAND_DATA05__USDHC3_DATA1	0x000001D6
			MX8MP_IOMUXC_NAND_DATA06__USDHC3_DATA2	0x000001D6
			MX8MP_IOMUXC_NAND_DATA07__USDHC3_DATA3	0x000001D6
			MX8MP_IOMUXC_NAND_RE_B__USDHC3_DATA4	0x000001D6
			MX8MP_IOMUXC_NAND_CE2_B__USDHC3_DATA5	0x000001D6
			MX8MP_IOMUXC_NAND_CE3_B__USDHC3_DATA6	0x000001D6
			MX8MP_IOMUXC_NAND_CLE__USDHC3_DATA7		0x000001D6
			MX8MP_IOMUXC_NAND_CE1_B__USDHC3_STROBE	0x00000196
		>;
	};

	pinctrl_wdog: wdoggrp {
		fsl,pins = <
			MX8MP_IOMUXC_GPIO1_IO02__WDOG1_WDOG_B	0x00000166
		>;
	};
};

&vpu_g1 {
	status = "okay";
};

&vpu_g2 {
	status = "okay";
};

&vpu_vc8000e {
	status = "okay";
};

&vpu_v4l2 {
	status = "okay";
};

&gpu_3d {
	status = "okay";
};

&gpu_2d {
	status = "okay";
};

&ml_vipsi {
	status = "okay";
};

&resmem {
	linux,cma {
		size = <0 0x10000000>;
		/delete-property/ alloc-ranges;
	};
};

&gpu_reserved {
	reg = <0x0 0x78000000 0 0x08000000>;
};

&dsp_reserved {
	reg = <0 0x77000000 0 0x1000000>;
	no-map;
};

&dsp_reserved_heap {
	reg = <0 0x76110000 0 0xef0000>;
	no-map;
};

&dsp_vdev0vring0 {
	reg = <0 0x76108000 0 0x8000>;
};

&dsp_vdev0vring1 {
	reg = <0 0x76100000 0 0x8000>;
};

&dsp_vdev0buffer {
	reg = <0 0x76000000 0 0x100000>;
};

&mix_gpu_ml {
	reg = <0x0 0x40000000 0x0 0x40000000>, <0x0 0x40000000 0x0 0x08000000>;
	status = "okay";
};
